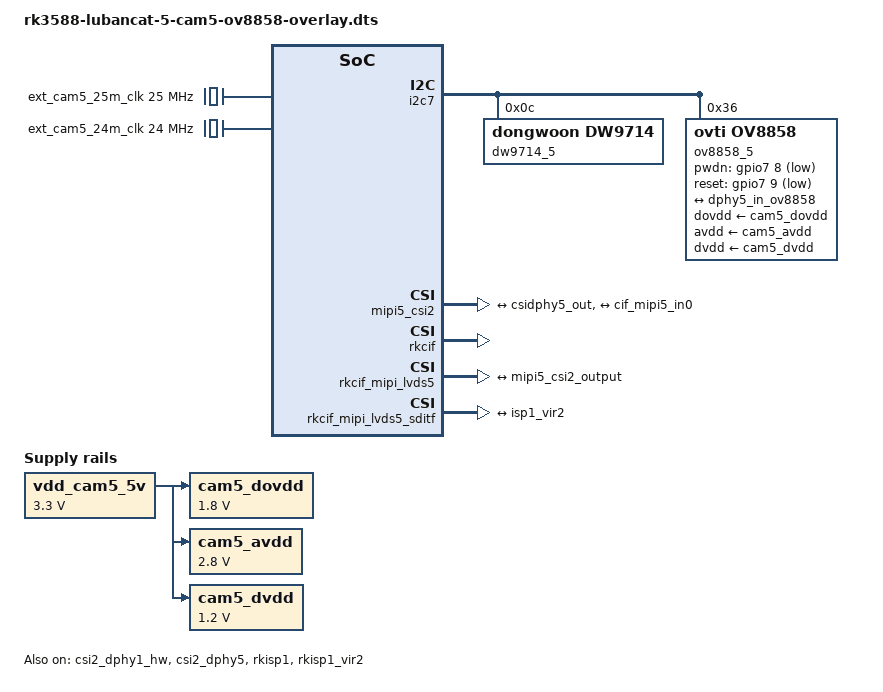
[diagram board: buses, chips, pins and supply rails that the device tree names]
/dts-v1/;
/plugin/;

#include <dt-bindings/usb/pd.h>
#include <dt-bindings/gpio/gpio.h>
#include <dt-bindings/pwm/pwm.h>
#include <dt-bindings/pinctrl/rockchip.h>
#include <dt-bindings/input/rk-input.h>
#include <dt-bindings/display/drm_mipi_dsi.h>
#include <dt-bindings/display/rockchip_vop.h>
#include <dt-bindings/sensor-dev.h>

/ {
	fragment@0 {
		target-path = "/";

		__overlay__ {
			ext_cam5_25m_clk: external-camera-25m-clock {
				compatible = "fixed-clock";
				clock-frequency = <25000000>;
				clock-output-names = "ext_cam5_25m_clk";
				#clock-cells = <0>;
			};

			ext_cam5_24m_clk: external-camera-24m-clock {
				compatible = "fixed-clock";
				#clock-cells = <0>;
				clock-frequency = <24000000>;
				clock-output-names = "ext_cam5_24m_clk";
			};

			vdd_cam5_5v: vdd-cam-5v-regulator {
				compatible = "regulator-fixed";
				regulator-name = "vdd_cam5_5v";
				regulator-always-on;
				regulator-boot-on;
				regulator-min-microvolt = <3300000>;
				regulator-max-microvolt = <3300000>;
			};

			cam5_dovdd: cam-dovdd {
				compatible = "regulator-fixed";
				regulator-name = "cam5_dovdd";
				regulator-always-on;
				regulator-boot-on;
				regulator-min-microvolt = <1800000>;
				regulator-max-microvolt = <1800000>;
				vin-supply = <&vdd_cam5_5v>;
			};

			cam5_avdd: cam-avdd {
				compatible = "regulator-fixed";
				regulator-name = "cam5_avdd";
				regulator-always-on;
				regulator-boot-on;
				regulator-min-microvolt = <2800000>;
				regulator-max-microvolt = <2800000>;
				vin-supply = <&vdd_cam5_5v>;
			};

			cam5_dvdd: cam5-dvdd {
				compatible = "regulator-fixed";
				regulator-name = "cam5_dvdd";
				regulator-always-on;
				regulator-boot-on;
				regulator-min-microvolt = <1200000>;
				regulator-max-microvolt = <1200000>;
				vin-supply = <&vdd_cam5_5v>;
			};
		};
	};

/* Link path: sensor->csi2_dphy5->mipi5_csi2->rkcif_mipi_lvds5--->rkcif_mipi_lvds5_sditf->rkisp0_vir2 */
	fragment@1 {
		target = <&i2c7>;
		__overlay__ {
			status = "okay";
			pinctrl-names = "default";
			pinctrl-0 = <&i2c7m0_xfer>;
			#address-cells = <1>;
			#size-cells = <0>;

			dw9714_5: dw9714@c {
				status = "okay";
				compatible = "dongwoon,dw9714";
				reg = <0xc>;
				rockchip,camera-module-index = <0>;
				rockchip,vcm-max-current = <100>;
				rockchip,vcm-start-current = <0>;
				rockchip,vcm-rated-current = <100>;
				rockchip,vcm-step-mode = <0xd>;
				rockchip,vcm-dlc-enable = <0>;
				rockchip,vcm-mclk = <0>;	
				rockchip,vcm-t-src = <0>;
				rockchip,camera-module-facing = "back";
			};

			ov8858_5: ov8858@36 {
				compatible = "ovti,ov8858";
				status = "okay";
				reg = <0x36>;
				clocks = <&ext_cam5_24m_clk>;
				clock-names = "xvclk";
				dovdd-supply= <&cam5_dovdd>; /* 1.8v */
				avdd-supply = <&cam5_avdd>;  /* 2.8v */
				dvdd-supply = <&cam5_dvdd>;  /* 1.2v */
				pwdn-gpios = <&gpio7 8 GPIO_ACTIVE_LOW>;
				reset-gpios = <&gpio7 9 GPIO_ACTIVE_LOW>;
				rotation = <180>;

				rockchip,camera-module-index = <3>;
				rockchip,camera-module-facing = "back";
				rockchip,camera-module-name = "HS5885-BNSM1018-V01";
				rockchip,camera-module-lens-name = "default";
				lens-focus = <&dw9714_5>;

				port {
					/* MIPI CSI-2 bus endpoint */
					ov8858_out5: endpoint {
						remote-endpoint = <&dphy5_in_ov8858>;
						clock-lanes = <0>;
						data-lanes = <1 2>;
					};
				};
			};
		};
	};

	fragment@2 {
		target = <&csi2_dphy1_hw>;

		__overlay__ {
			status = "okay";
		};
	};


	fragment@3 {
		target = <&csi2_dphy5>;

		__overlay__ {
			status = "okay";
			ports {
				#address-cells = <1>;
				#size-cells = <0>;

				port@0 {
					reg = <0>;
					#address-cells = <1>;
					#size-cells = <0>;

					dphy5_in_ov8858: endpoint@2 {
						reg = <2>;
						remote-endpoint = <&ov8858_out5>;
						data-lanes = <1 2>;
					};
				};

				port@1 {
					reg = <1>;
					#address-cells = <1>;
					#size-cells = <0>;

					csidphy5_out: endpoint@0 {
						reg = <0>;
						remote-endpoint = <&mipi5_csi2_input>;
					};
				};
			};
		};
	};

	fragment@4 {
		target = <&mipi5_csi2>;

		__overlay__ {
			status = "okay";

			ports {
				#address-cells = <1>;
				#size-cells = <0>;

				port@0 {
					reg = <0>;
					#address-cells = <1>;
					#size-cells = <0>;

					mipi5_csi2_input: endpoint@1 {
						reg = <1>;
						remote-endpoint = <&csidphy5_out>;
					};
				};

				port@1 {
					reg = <1>;
					#address-cells = <1>;
					#size-cells = <0>;

					mipi5_csi2_output: endpoint@0 {
						reg = <0>;
						remote-endpoint = <&cif_mipi5_in0>;
					};
				};
			};
		};
	};

	fragment@5 {
		target = <&rkcif>;

		__overlay__ {
			status = "okay";
		};
	};

	fragment@6 {
		target = <&rkcif_mipi_lvds5>;

		__overlay__ {
			status = "okay";

			port {
				cif_mipi5_in0: endpoint {
					remote-endpoint = <&mipi5_csi2_output>;
				};
			};
		};
	};

	fragment@7 {
		target = <&rkcif_mipi_lvds5_sditf>;

		__overlay__ {
			status = "okay";

			port {
				mipi_lvds5_sditf: endpoint {
					remote-endpoint = <&isp1_vir2>;
				};
			};
		};
	};

	fragment@8 {
		target = <&rkcif_mmu>;

		__overlay__ {
			status = "okay";
		};
	};

	fragment@9 {
		target = <&rkisp1>;

		__overlay__ {
			status = "okay";
		};
	};

	fragment@10 {
		target = <&isp1_mmu>;

		__overlay__ {
			status = "okay";
		};
	};

	fragment@11 {
		target = <&rkisp1_vir2>;

		__overlay__ {
			status = "okay";

			port {
				#address-cells = <1>;
				#size-cells = <0>;

				isp1_vir2: endpoint@0 {
					reg = <0>;
					remote-endpoint = <&mipi_lvds5_sditf>;
				};
			};
		};
	};

};

